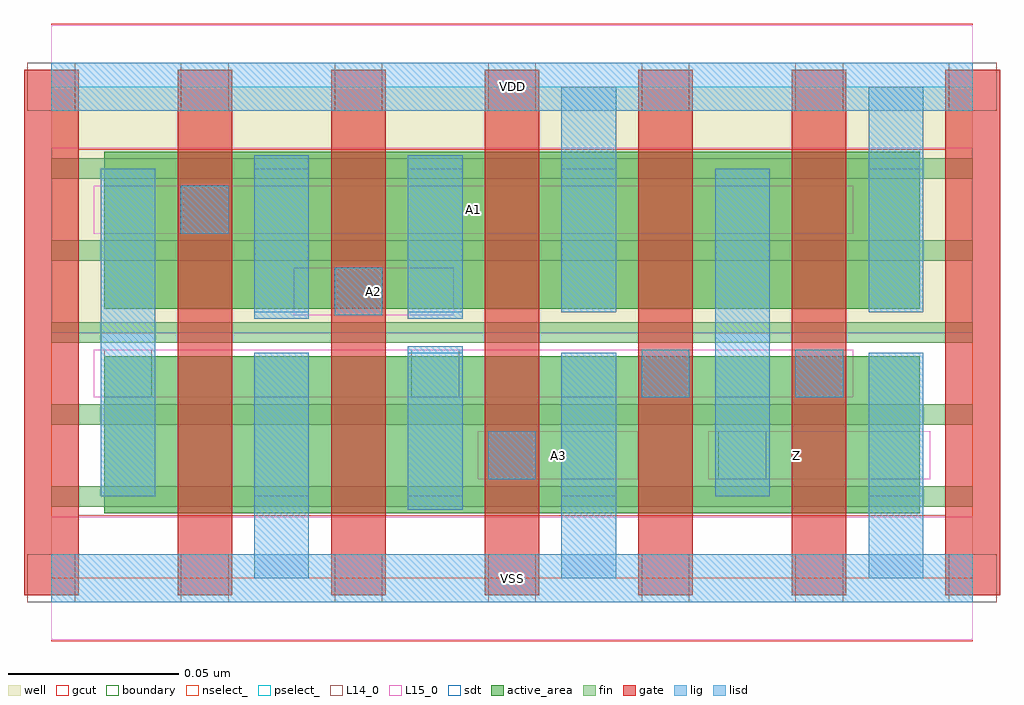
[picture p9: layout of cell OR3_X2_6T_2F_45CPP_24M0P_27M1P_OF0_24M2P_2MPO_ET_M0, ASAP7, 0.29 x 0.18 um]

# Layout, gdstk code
import gdstk
lib = gdstk.Library(unit=1e-6, precision=2.5e-10)
def R(c, l, rs):  # rectangles x0, y0, x1, y1
    for r in rs: c.add(gdstk.rectangle(r[:2], r[2:], *l))
def A(c, l, x, y, w, h, nx, ny, dx, dy):  # array of equal rectangles
    R(c, l, [(x+i*dx, y+j*dy, x+i*dx+w, y+j*dy+h) for i in range(nx) for j in range(ny)])
well = (1, 0)
fin = (2, 0)
gate = (7, 0)
gcut = (10, 0)
active_area = (11, 0)
nselect_ = (12, 0)
pselect_ = (13, 0)
L14_0 = (14, 0)
L15_0 = (15, 0)
lig = (16, 0)
lisd = (17, 0)
sdt = (88, 0)
boundary = (100, 0)

or3_x2_6t_2f_45cpp_24m0p = lib.new_cell('OR3_X2_6T_2F_45CPP_24M0P_27M1P_OF0_24M2P_2MPO_ET_M0')
R(or3_x2_6t_2f_45cpp_24m0p, well, [(0,0.072,0.27,0.144)])
A(or3_x2_6t_2f_45cpp_24m0p, fin, 0, 0.021, 0.27, 0.006, 1, 5, 0, 0.024)
A(or3_x2_6t_2f_45cpp_24m0p, gate, -0.008, -0.005, 0.016, 0.154, 7, 1, 0.045, 0)
R(or3_x2_6t_2f_45cpp_24m0p, gcut, [(0,-0.0185,0.27,0.0185), (-0.008,-0.005,0.008,0.149), (0.262,-0.005,0.278,0.149), (0,0.1255,0.27,0.1625)])
A(or3_x2_6t_2f_45cpp_24m0p, active_area, 0.0155, 0.019, 0.059, 0.046, 5, 2, 0.045, 0.06)
R(or3_x2_6t_2f_45cpp_24m0p, nselect_, [(0,0,0.27,0.072)])
R(or3_x2_6t_2f_45cpp_24m0p, pselect_, [(0,0.072,0.27,0.144)])
A(or3_x2_6t_2f_45cpp_24m0p, L14_0, -0.007, -0.007, 0.014, 0.014, 7, 2, 0.045, 0.144)
R(or3_x2_6t_2f_45cpp_24m0p, L14_0, [(0.128,0.029,0.142,0.043), (0.1955,0.029,0.2095,0.043), (0.0155,0.053,0.0295,0.067), (0.1055,0.053,0.1195,0.067), (0.173,0.053,0.187,0.067), (0.218,0.053,0.232,0.067), (0.083,0.077,0.097,0.091), (0.038,0.101,0.052,0.115)])
R(or3_x2_6t_2f_45cpp_24m0p, L15_0, [(0,-0.018,0.27,0.018), (0.125,0.029,0.172,0.043), (0.1925,0.029,0.2575,0.043), (0.0125,0.053,0.235,0.067), (0.071,0.077,0.118,0.091), (0.0125,0.101,0.235,0.115), (0,0.126,0.27,0.162)])
R(or3_x2_6t_2f_45cpp_24m0p, lig, [(0,-0.007,0.27,0.007), (0.128,0.029,0.142,0.043), (0.173,0.053,0.187,0.067), (0.218,0.053,0.232,0.067), (0.083,0.077,0.097,0.091), (0.038,0.101,0.052,0.115), (0,0.137,0.27,0.151)])
A(or3_x2_6t_2f_45cpp_24m0p, lisd, 0.0595, 0, 0.016, 0.066, 3, 1, 0.09, 0)
R(or3_x2_6t_2f_45cpp_24m0p, lisd, [(0.1045,0.02,0.1205,0.068), (0.0145,0.024,0.0305,0.12), (0.1945,0.024,0.2105,0.12), (0.0595,0.076,0.0755,0.124), (0.1045,0.076,0.1205,0.124), (0.1495,0.078,0.1655,0.144), (0.2395,0.078,0.2555,0.144)])
A(or3_x2_6t_2f_45cpp_24m0p, sdt, 0.0595, 0.024, 0.016, 0.042, 3, 2, 0.045, 0.054)
R(or3_x2_6t_2f_45cpp_24m0p, sdt, [(0.0145,0.024,0.0305,0.12), (0.1945,0.024,0.2105,0.12), (0.2395,0.024,0.2555,0.066), (0.2395,0.078,0.2555,0.12)])
R(or3_x2_6t_2f_45cpp_24m0p, boundary, [(0,0,0.27,0.144)])
or3_x2_6t_2f_45cpp_24m0p.add(gdstk.Label('A2', (0.0945,0.084), layer=15, texttype=251))
or3_x2_6t_2f_45cpp_24m0p.add(gdstk.Label('A3', (0.1485,0.036), layer=15, texttype=251))
or3_x2_6t_2f_45cpp_24m0p.add(gdstk.Label('A1', (0.1237,0.108), layer=15, texttype=251))
or3_x2_6t_2f_45cpp_24m0p.add(gdstk.Label('Z', (0.2182,0.036), layer=15, texttype=251))
or3_x2_6t_2f_45cpp_24m0p.add(gdstk.Label('VDD', (0.135,0.144), layer=15, texttype=251))
or3_x2_6t_2f_45cpp_24m0p.add(gdstk.Label('VSS', (0.135,0), layer=15, texttype=251))
or3_x2_6t_2f_45cpp_24m0p.add(gdstk.Label('VDD', (0.135,0.144), layer=1, texttype=251))
or3_x2_6t_2f_45cpp_24m0p.add(gdstk.Label('VSS', (0.135,0), layer=3, texttype=251))

lib.write_gds('OR3_X2_6T_2F_45CPP_24M0P_27M1P_OF0_24M2P_2MPO_ET_M0.gds')
